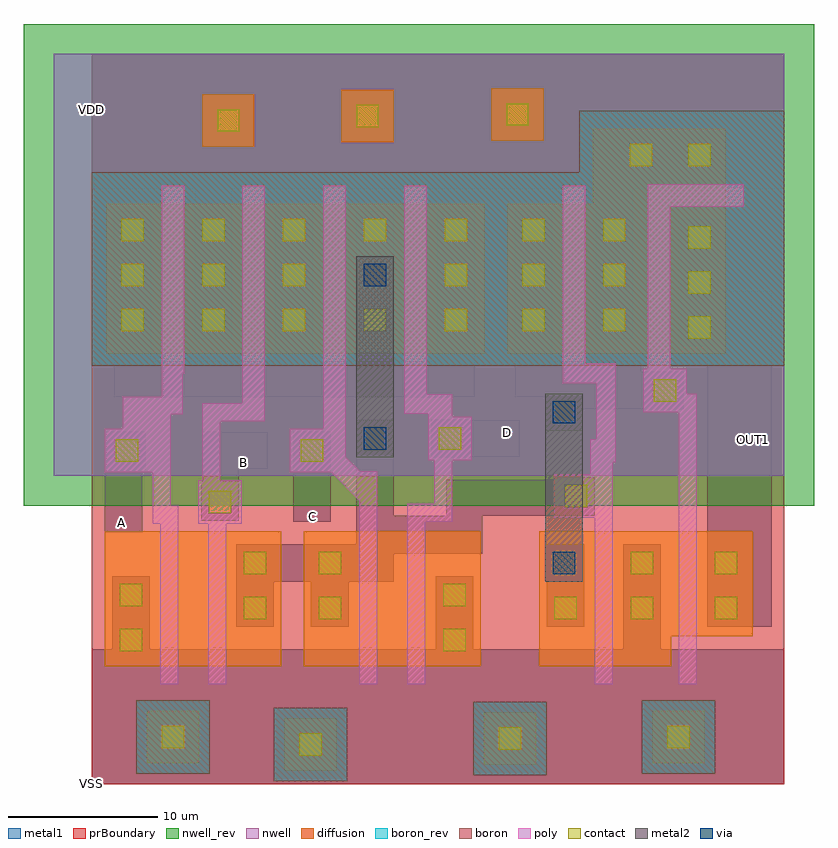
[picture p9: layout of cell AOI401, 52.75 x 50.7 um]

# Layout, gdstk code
import gdstk
lib = gdstk.Library(unit=1e-6, precision=1e-09)
def R(c, l, rs):  # rectangles x0, y0, x1, y1
    for r in rs: c.add(gdstk.rectangle(r[:2], r[2:], *l))
def A(c, l, x, y, w, h, nx, ny, dx, dy):  # array of equal rectangles
    R(c, l, [(x+i*dx, y+j*dy, x+i*dx+w, y+j*dy+h) for i in range(nx) for j in range(ny)])
def P(c, l, *ps):  # polygons
    for p in ps: c.add(gdstk.Polygon(p, *l))
nwell = (1, 0)
diffusion = (2, 0)
nwell_rev = (3, 0)
poly = (4, 0)
boron = (5, 0)
boron_rev = (6, 0)
contact = (7, 0)
metal1 = (8, 0)
via = (9, 0)
metal2 = (10, 0)
prBoundary = (28, 0)

aoi401 = lib.new_cell('AOI401')
R(aoi401, nwell, [(-2.55,20.55,46.2,48.7)])
R(aoi401, diffusion, [(12.85,0.9,16.35,4.4), (26.15,1.3,29.65,4.8), (3.65,1.4,7.15,4.9), (37.4,1.4,40.9,4.9), (0.85,7.85,12.65,16.85), (14.15,7.85,25.95,16.85), (0.95,28.7,26.2,38.7), (7.35,42.5,10.85,46), (16.65,42.8,20.15,46.3), (26.65,42.9,30.15,46.4)])
P(aoi401, diffusion, [(29.85,7.85),(29.85,16.85),(44.1,16.85),(44.1,9.85),(38.65,9.85),(38.65,7.85)],
  [(27.7,28.7),(27.7,38.7),(33.4,38.7),(33.4,43.7),(42.3,43.7),(42.3,28.7)])
R(aoi401, nwell_rev, [(-4.55,18.55,48.2,50.7)])
P(aoi401, poly, [(7.75,6.65),(7.75,17.35),(7.1,17.35),(7.1,20.25),(7.35,20.25),(7.35,25.4),(10.05,25.4),(10.05,39.9),(11.55,39.9),(11.55,24.2),(8.55,24.2),(8.55,20.25),(10,20.25),(10,17.35),(8.95,17.35),(8.95,6.65)],
  [(39.15,6.65),(39.15,24.8),(36.8,24.8),(36.8,27.7),(37.1,27.7),(37.1,40),(43.5,40),(43.5,38.5),(38.6,38.5),(38.6,27.7),(39.7,27.7),(39.7,26.05),(40.35,26.05),(40.35,6.65)],
  [(33.55,6.65),(33.55,17.75),(30.8,17.75),(30.8,20.65),(33.25,20.65),(33.25,23),(33.65,23),(33.65,26.75),(31.4,26.75),(31.4,39.9),(32.9,39.9),(32.9,28.05),(34.95,28.05),(34.95,21.45),(34.75,21.45),(34.75,6.65)],
  [(21.05,6.65),(21.05,18.7),(22.85,18.7),(22.85,21.6),(22.45,21.6),(22.45,24.7),(20.85,24.7),(20.85,39.9),(22.35,39.9),(22.35,26),(24.05,26),(24.05,24.5),(25.35,24.5),(25.35,21.6),(24.05,21.6),(24.05,17.5),(22.25,17.5),(22.25,6.65)],
  [(4.55,6.65),(4.55,17.35),(4.05,17.35),(4.05,20.8),(0.85,20.8),(0.85,23.7),(2.05,23.7),(2.05,25.85),(4.65,25.85),(4.65,39.9),(6.15,39.9),(6.15,27.4),(6.05,27.4),(6.05,24.65),(5.25,24.65),(5.25,18.55),(5.75,18.55),(5.75,6.65)],
  [(17.85,6.65),(17.85,18.91),(15.96,20.8),(13.2,20.8),(13.2,23.7),(15.45,23.7),(15.45,39.9),(16.95,39.9),(16.95,21.79),(17.89,20.85),(19.05,20.85),(19.05,6.65)])
R(aoi401, boron, [(12.15,0.2,17.05,5.1), (25.45,0.6,30.35,5.5), (2.95,0.7,7.85,5.6), (36.7,0.7,41.6,5.6)])
P(aoi401, boron, [(0,27.9),(0,40.8),(32.5,40.8),(32.5,44.9),(46.2,44.9),(46.2,27.9)])
R(aoi401, boron_rev, [(12.15,0.2,17.05,5.1), (25.45,0.6,30.35,5.5), (2.95,0.7,7.85,5.6), (36.7,0.7,41.6,5.6)])
P(aoi401, boron_rev, [(0,27.9),(0,40.8),(32.5,40.8),(32.5,44.9),(46.2,44.9),(46.2,27.9)])
A(aoi401, contact, 39.8, 29.7, 1.5, 1.5, 1, 3, 0, 3)
A(aoi401, contact, 1.95, 30.2, 1.5, 1.5, 5, 2, 5.4, 6)
A(aoi401, contact, 28.7, 30.2, 1.5, 1.5, 1, 3, 0, 3)
A(aoi401, contact, 34.1, 30.2, 1.5, 1.5, 1, 3, 0, 3)
A(aoi401, contact, 1.95, 33.2, 1.5, 1.5, 3, 1, 5.4, 0)
R(aoi401, contact, [(13.85,1.9,15.35,3.4), (27.15,2.3,28.65,3.8), (4.65,2.4,6.15,3.9), (38.4,2.4,39.9,3.9), (1.85,8.85,3.35,10.35), (23.45,8.85,24.95,10.35), (10.15,11,11.65,12.5), (15.15,11,16.65,12.5), (30.85,11,32.35,12.5), (35.95,11,37.45,12.5), (41.55,11,43.05,12.5), (1.85,11.85,3.35,13.35), (23.45,11.85,24.95,13.35), (10.15,14,11.65,15.5), (15.15,14,16.65,15.5), (35.95,14,37.45,15.5), (41.55,14,43.05,15.5), (7.8,18.05,9.3,19.55), (31.55,18.45,33.05,19.95), (1.6,21.5,3.1,23), (13.95,21.5,15.45,23), (23.15,22.3,24.65,23.8), (37.5,25.5,39,27), (23.55,33.2,25.05,34.7), (35.9,41.2,37.4,42.7), (39.8,41.2,41.3,42.7), (8.35,43.5,9.85,45), (17.65,43.8,19.15,45.3), (27.65,43.9,29.15,45.4)])
R(aoi401, metal1, [(0,0,46.2,9), (13.45,17.5,15.95,23.5), (42.85,21,45.35,23.5), (22.65,21.8,28.55,24.3), (17.65,29.7,20.15,38.2), (0,39.7,46.2,48.7)])
P(aoi401, metal1, [(0.85,16.8),(0.85,23.5),(3.6,23.5),(3.6,21),(3.35,21),(3.35,16.8)],
  [(0,0),(0,9),(1.35,9),(1.35,13.85),(3.85,13.85),(3.85,9),(22.95,9),(22.95,13.85),(25.45,13.85),(25.45,9),(35.45,9),(35.45,16),(37.95,16),(37.95,9),(46.2,9),(46.2,0)],
  [(41.05,10.5),(41.05,29.2),(39.3,29.2),(39.3,37.7),(41.8,37.7),(41.8,32.9),(45.35,32.9),(45.35,10.5)],
  [(30.25,23.55),(30.25,25.8),(28.2,25.8),(28.2,38.2),(30.7,38.2),(30.7,28.2),(36.65,28.2),(36.65,27.5),(39.5,27.5),(39.5,25),(32.75,25),(32.75,23.55)],
  [(9.65,10.5),(9.65,16),(17.65,16),(17.65,24.3),(20.15,24.3),(20.15,17.9),(23.65,17.9),(23.65,20.3),(31.05,20.3),(31.05,20.45),(33.55,20.45),(33.55,17.9),(26.05,17.9),(26.05,15.35),(20.15,15.35),(20.15,13.5),(17.15,13.5),(17.15,10.5),(14.6,10.5),(14.6,13.5),(12.15,13.5),(12.15,10.5)],
  [(30.35,10.5),(30.35,13.5),(30.25,13.5),(30.25,16),(32.85,16),(32.85,10.5)],
  [(1.45,25.8),(1.45,38.2),(3.95,38.2),(3.95,28.2),(12.25,28.2),(12.25,38.2),(14.75,38.2),(14.75,28.2),(23.05,28.2),(23.05,38.2),(25.55,38.2),(25.55,25.8)],
  [(7.3,17.55),(7.3,20.05),(7.35,20.05),(7.35,23.5),(11.75,23.5),(11.75,21),(9.8,21),(9.8,17.55)],
  [(6.85,29.7),(6.85,39.7),(0,39.7),(0,48.7),(46.2,48.7),(46.2,39.7),(36.1,39.7),(36.1,29.7),(33.6,29.7),(33.6,39.7),(9.35,39.7),(9.35,29.7)])
R(aoi401, via, [(30.75,14,32.25,15.5), (18.15,22.3,19.65,23.8), (30.75,24.05,32.25,25.55), (18.15,33.2,19.65,34.7)])
R(aoi401, metal2, [(30.25,13.5,32.75,26.05), (17.65,21.8,20.15,35.2)])
R(aoi401, prBoundary, [(0,0,46.2,48.7)])
aoi401.add(gdstk.Label('VSS', (0.001,0.001), layer=8, texttype=7))
aoi401.add(gdstk.Label('VDD', (0.002,45), layer=8, texttype=7))
aoi401.add(gdstk.Label('D', (27.75,23.45), layer=8, texttype=7))
aoi401.add(gdstk.Label('A', (1.95,17.45), layer=8, texttype=7))
aoi401.add(gdstk.Label('B', (10.15,21.45), layer=8, texttype=7))
aoi401.add(gdstk.Label('C', (14.7,17.85), layer=8, texttype=7))
aoi401.add(gdstk.Label('OUT1', (44.15,22.95), layer=8, texttype=7))

lib.write_gds('AOI401.gds')
